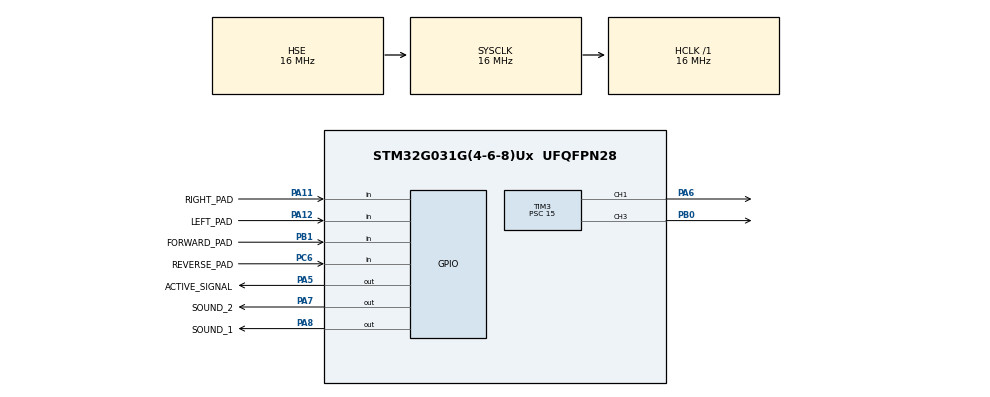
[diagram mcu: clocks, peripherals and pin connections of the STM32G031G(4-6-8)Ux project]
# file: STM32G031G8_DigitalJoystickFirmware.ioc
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Mcu.Family=STM32G0
Mcu.Name=STM32G031G(4-6-8)Ux
Mcu.Package=UFQFPN28
PA11\ [PA9].GPIO_Label=RIGHT_PAD
PA11\ [PA9].GPIO_PuPd=GPIO_PULLUP
PA11\ [PA9].Signal=GPIO_Input
PA12\ [PA10].GPIO_Label=LEFT_PAD
PA12\ [PA10].GPIO_PuPd=GPIO_PULLUP
PA12\ [PA10].Signal=GPIO_Input
PA13.Mode=Serial_Wire
PA13.Signal=SYS_SWDIO
PA14-BOOT0.Mode=Serial_Wire
PA14-BOOT0.Signal=SYS_SWCLK
PA5.GPIO_Label=ACTIVE_SIGNAL
PA5.PinState=GPIO_PIN_SET
PA5.Signal=GPIO_Output
PA6.Signal=S_TIM3_CH1
PA7.GPIO_Label=SOUND_2
PA7.GPIO_ModeDefaultOutputPP=GPIO_MODE_OUTPUT_PP
PA7.GPIO_PuPd=GPIO_NOPULL
PA7.Signal=GPIO_Output
PA8.GPIO_Label=SOUND_1
PA8.GPIO_ModeDefaultOutputPP=GPIO_MODE_OUTPUT_PP
PA8.GPIO_PuPd=GPIO_NOPULL
PA8.Signal=GPIO_Output
PB0.Signal=S_TIM3_CH3
PB1.GPIO_Label=FORWARD_PAD
PB1.GPIO_PuPd=GPIO_PULLUP
PB1.Signal=GPIO_Input
PC14-OSC32_IN\ (PC14).Mode=HSE-External-Clock-Source
PC14-OSC32_IN\ (PC14).Signal=RCC_OSC_IN
PC6.GPIO_Label=REVERSE_PAD
PC6.GPIO_PuPd=GPIO_PULLUP
PC6.Signal=GPIO_Input
ProjectManager.HeapSize=0x200
ProjectManager.StackSize=0x400
ProjectManager.TargetToolchain=STM32CubeIDE
RCC.ADCFreq_Value=16000000
RCC.AHBFreq_Value=16000000
RCC.CortexFreq_Value=16000000
RCC.EXTERNAL_CLOCK_VALUE=12288000
RCC.HCLKFreq_Value=16000000
RCC.HSE_VALUE=16000000
RCC.HSI_VALUE=16000000
RCC.LSE_VALUE=32768
RCC.PLLSourceVirtual=RCC_PLLSOURCE_HSE
RCC.SYSCLKFreq_VALUE=16000000
RCC.SYSCLKSource=RCC_SYSCLKSOURCE_HSE
RCC.VCOOutputFreq_Value=128000000
SH.S_TIM3_CH1.0=TIM3_CH1,PWM Generation1 CH1
SH.S_TIM3_CH3.0=TIM3_CH3,PWM Generation3 CH3
TIM3.Channel-PWM\ Generation1\ CH1=TIM_CHANNEL_1
TIM3.Channel-PWM\ Generation3\ CH3=TIM_CHANNEL_3
TIM3.Period=1000
TIM3.Prescaler=15
TIM3.Pulse-PWM\ Generation1\ CH1=500
board=custom

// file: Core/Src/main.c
/* USER CODE BEGIN Header */
/**
  ******************************************************************************
  * @file           : main.c
  * @brief          : Main program body
  ******************************************************************************
  * @attention
  *
  * <h2><center>&copy; Copyright (c) 2021 STMicroelectronics.
  * All rights reserved.</center></h2>
  *
  * This software component is licensed by ST under BSD 3-Clause license,
  * the "License"; You may not use this file except in compliance with the
  * License. You may obtain a copy of the License at:
  *                        opensource.org/licenses/BSD-3-Clause
  *
  ******************************************************************************
  */
/* USER CODE END Header */
#include "main.h"

TIM_HandleTypeDef htim3;

/* USER CODE BEGIN PV */
#define THROTTLE_OFF 		500
#define THROTTLE_FORWARD 	800
#define THROTTLE_REVERSE 	200

#define STEERING_STRAIGHT 	500
#define STEERING_LEFT 		200
#define STEERING_RIGHT 		800
/* USER CODE END PV */

void SystemClock_Config(void);
static void MX_GPIO_Init(void);
static void MX_TIM3_Init(void);

int main(void)
{
  /* USER CODE BEGIN 1 */
  uint16_t pwmSteering = STEERING_STRAIGHT;
  uint16_t pwmThrottle = THROTTLE_OFF;

  /* USER CODE END 1 */

  /* MCU Configuration--------------------------------------------------------*/

  /* Reset of all peripherals, Initializes the Flash interface and the Systick. */
  HAL_Init();

  /* Configure the system clock */
  SystemClock_Config();

  /* Initialize all configured peripherals */
  MX_GPIO_Init();
  MX_TIM3_Init();
  /* USER CODE BEGIN 2 */
  HAL_GPIO_WritePin(SOUND_1_GPIO_Port, SOUND_1_Pin, GPIO_PIN_SET);
  HAL_GPIO_WritePin(SOUND_2_GPIO_Port, SOUND_2_Pin, GPIO_PIN_SET);
  HAL_TIM_PWM_Start(&htim3, TIM_CHANNEL_1);
  HAL_TIM_PWM_Start(&htim3, TIM_CHANNEL_3);
  /* USER CODE END 2 */

  /* Infinite loop */
  /* USER CODE BEGIN WHILE */
  while (1)
  {
	  // All Buttons are connected to GND so their logic is inverted

	  if (!HAL_GPIO_ReadPin(FORWARD_PAD_GPIO_Port, FORWARD_PAD_Pin)
			  && !HAL_GPIO_ReadPin(LEFT_PAD_GPIO_Port, LEFT_PAD_Pin)) {
		  // Joystick pushed forward and left
		  pwmThrottle = THROTTLE_FORWARD;
		  pwmSteering = STEERING_LEFT;
	  } else if (!HAL_GPIO_ReadPin(FORWARD_PAD_GPIO_Port, FORWARD_PAD_Pin)
			  && !HAL_GPIO_ReadPin(RIGHT_PAD_GPIO_Port, RIGHT_PAD_Pin)) {
		  // Joystick pushed forward and right
		  pwmThrottle = THROTTLE_FORWARD;
		  pwmSteering = STEERING_RIGHT;
	  } else if (!HAL_GPIO_ReadPin(FORWARD_PAD_GPIO_Port, FORWARD_PAD_Pin)) {
		  // Joystick pushed forward
		  pwmThrottle = THROTTLE_FORWARD;
		  pwmSteering = STEERING_STRAIGHT;
	  } else if (!HAL_GPIO_ReadPin(REVERSE_PAD_GPIO_Port, REVERSE_PAD_Pin)
			  && !HAL_GPIO_ReadPin(LEFT_PAD_GPIO_Port, LEFT_PAD_Pin)) {
		  // Joystick pushed backward and left
		  pwmThrottle = THROTTLE_REVERSE;
		  pwmSteering = STEERING_LEFT;
	  } else if (!HAL_GPIO_ReadPin(REVERSE_PAD_GPIO_Port, REVERSE_PAD_Pin)
			  && !HAL_GPIO_ReadPin(RIGHT_PAD_GPIO_Port, RIGHT_PAD_Pin)) {
		  // Joystick pushed backward and right
		  pwmThrottle = THROTTLE_REVERSE;
		  pwmSteering = STEERING_RIGHT;
	  } else if (!HAL_GPIO_ReadPin(RIGHT_PAD_GPIO_Port, RIGHT_PAD_Pin)) {
		  // Joystick pushed right
		  pwmThrottle = THROTTLE_FORWARD;
		  pwmSteering = STEERING_RIGHT;
	  } else if (!HAL_GPIO_ReadPin(LEFT_PAD_GPIO_Port, LEFT_PAD_Pin)) {
		  // Joystick pushed left
		  pwmThrottle = THROTTLE_FORWARD;
		  pwmSteering = STEERING_LEFT;
	  } else if (!HAL_GPIO_ReadPin(REVERSE_PAD_GPIO_Port, REVERSE_PAD_Pin)) {
		  // Joystick pushed backward
		  pwmThrottle = THROTTLE_REVERSE;
		  pwmSteering = STEERING_STRAIGHT;
	  } else {
		  pwmThrottle = THROTTLE_OFF;
		  pwmSteering = STEERING_STRAIGHT;
	  }

	  __HAL_TIM_SET_COMPARE(&htim3, TIM_CHANNEL_3, pwmSteering);
	  __HAL_TIM_SET_COMPARE(&htim3, TIM_CHANNEL_1, pwmThrottle);
    /* USER CODE END WHILE */

  }
}

void SystemClock_Config(void)
{
  RCC_OscInitTypeDef RCC_OscInitStruct = {0};
  RCC_ClkInitTypeDef RCC_ClkInitStruct = {0};

  /** Configure the main internal regulator output voltage
  */
  HAL_PWREx_ControlVoltageScaling(PWR_REGULATOR_VOLTAGE_SCALE1);

  /** Initializes the RCC Oscillators according to the specified parameters
  * in the RCC_OscInitTypeDef structure.
  */
  RCC_OscInitStruct.OscillatorType = RCC_OSCILLATORTYPE_HSE;
  RCC_OscInitStruct.HSEState = RCC_HSE_BYPASS;
  RCC_OscInitStruct.PLL.PLLState = RCC_PLL_NONE;
  if (HAL_RCC_OscConfig(&RCC_OscInitStruct) != HAL_OK)
  {
    Error_Handler();
  }

  /** Initializes the CPU, AHB and APB buses clocks
  */
  RCC_ClkInitStruct.ClockType = RCC_CLOCKTYPE_HCLK|RCC_CLOCKTYPE_SYSCLK
                              |RCC_CLOCKTYPE_PCLK1;
  RCC_ClkInitStruct.SYSCLKSource = RCC_SYSCLKSOURCE_HSE;
  RCC_ClkInitStruct.AHBCLKDivider = RCC_SYSCLK_DIV1;
  RCC_ClkInitStruct.APB1CLKDivider = RCC_HCLK_DIV1;

  if (HAL_RCC_ClockConfig(&RCC_ClkInitStruct, FLASH_LATENCY_0) != HAL_OK)
  {
    Error_Handler();
  }
}

static void MX_TIM3_Init(void)
{

  TIM_MasterConfigTypeDef sMasterConfig = {0};
  TIM_OC_InitTypeDef sConfigOC = {0};

  htim3.Instance = TIM3;
  htim3.Init.Prescaler = 15;
  htim3.Init.CounterMode = TIM_COUNTERMODE_UP;
  htim3.Init.Period = 1000;
  htim3.Init.ClockDivision = TIM_CLOCKDIVISION_DIV1;
  htim3.Init.AutoReloadPreload = TIM_AUTORELOAD_PRELOAD_DISABLE;
  if (HAL_TIM_PWM_Init(&htim3) != HAL_OK)
  {
    Error_Handler();
  }
  sMasterConfig.MasterOutputTrigger = TIM_TRGO_RESET;
  sMasterConfig.MasterSlaveMode = TIM_MASTERSLAVEMODE_DISABLE;
  if (HAL_TIMEx_MasterConfigSynchronization(&htim3, &sMasterConfig) != HAL_OK)
  {
    Error_Handler();
  }
  sConfigOC.OCMode = TIM_OCMODE_PWM1;
  sConfigOC.Pulse = 500;
  sConfigOC.OCPolarity = TIM_OCPOLARITY_HIGH;
  sConfigOC.OCFastMode = TIM_OCFAST_DISABLE;
  if (HAL_TIM_PWM_ConfigChannel(&htim3, &sConfigOC, TIM_CHANNEL_1) != HAL_OK)
  {
    Error_Handler();
  }
  sConfigOC.Pulse = 0;
  if (HAL_TIM_PWM_ConfigChannel(&htim3, &sConfigOC, TIM_CHANNEL_3) != HAL_OK)
  {
    Error_Handler();
  }
  HAL_TIM_MspPostInit(&htim3);

}

static void MX_GPIO_Init(void)
{
  GPIO_InitTypeDef GPIO_InitStruct = {0};

  /* GPIO Ports Clock Enable */
  __HAL_RCC_GPIOC_CLK_ENABLE();
  __HAL_RCC_GPIOA_CLK_ENABLE();
  __HAL_RCC_GPIOB_CLK_ENABLE();

  /*Configure GPIO pin Output Level */
  HAL_GPIO_WritePin(ACTIVE_SIGNAL_GPIO_Port, ACTIVE_SIGNAL_Pin, GPIO_PIN_SET);

  /*Configure GPIO pin Output Level */
  HAL_GPIO_WritePin(GPIOA, SOUND_2_Pin|SOUND_1_Pin, GPIO_PIN_RESET);

  /*Configure GPIO pins : ACTIVE_SIGNAL_Pin SOUND_2_Pin SOUND_1_Pin */
  GPIO_InitStruct.Pin = ACTIVE_SIGNAL_Pin|SOUND_2_Pin|SOUND_1_Pin;
  GPIO_InitStruct.Mode = GPIO_MODE_OUTPUT_PP;
  GPIO_InitStruct.Pull = GPIO_NOPULL;
  GPIO_InitStruct.Speed = GPIO_SPEED_FREQ_LOW;
  HAL_GPIO_Init(GPIOA, &GPIO_InitStruct);

  /*Configure GPIO pin : FORWARD_PAD_Pin */
  GPIO_InitStruct.Pin = FORWARD_PAD_Pin;
  GPIO_InitStruct.Mode = GPIO_MODE_INPUT;
  GPIO_InitStruct.Pull = GPIO_PULLUP;
  HAL_GPIO_Init(FORWARD_PAD_GPIO_Port, &GPIO_InitStruct);

  /*Configure GPIO pin : REVERSE_PAD_Pin */
  GPIO_InitStruct.Pin = REVERSE_PAD_Pin;
  GPIO_InitStruct.Mode = GPIO_MODE_INPUT;
  GPIO_InitStruct.Pull = GPIO_PULLUP;
  HAL_GPIO_Init(REVERSE_PAD_GPIO_Port, &GPIO_InitStruct);

  /*Configure GPIO pins : RIGHT_PAD_Pin LEFT_PAD_Pin */
  GPIO_InitStruct.Pin = RIGHT_PAD_Pin|LEFT_PAD_Pin;
  GPIO_InitStruct.Mode = GPIO_MODE_INPUT;
  GPIO_InitStruct.Pull = GPIO_PULLUP;
  HAL_GPIO_Init(GPIOA, &GPIO_InitStruct);

}

void Error_Handler(void)
{
  __disable_irq();
  while (1)
  {
  }
}
